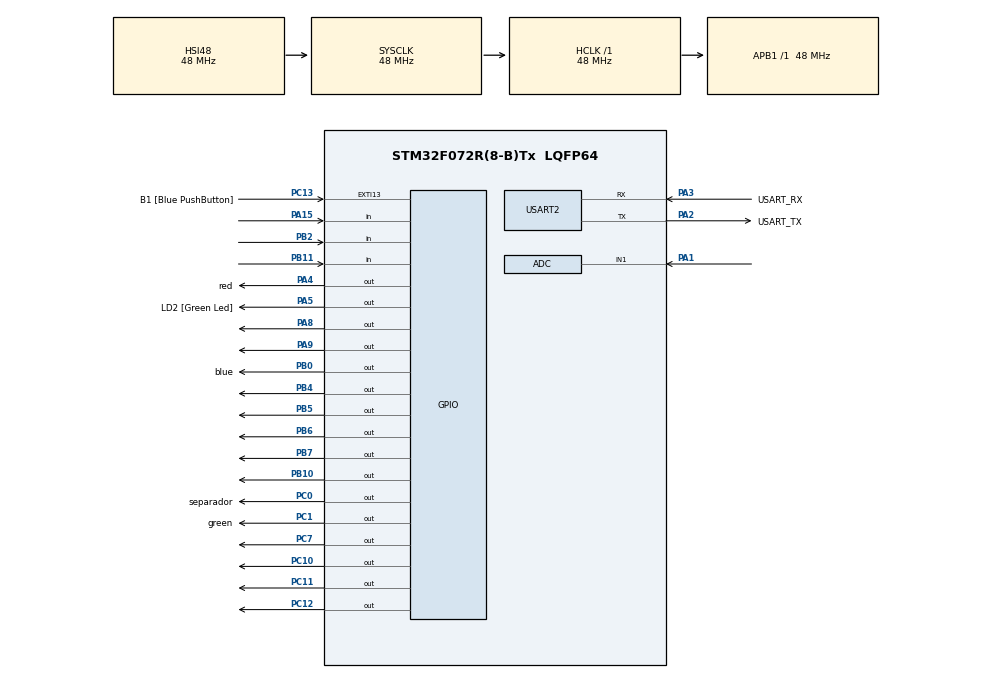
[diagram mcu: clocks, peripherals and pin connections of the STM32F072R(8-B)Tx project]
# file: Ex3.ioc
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Mcu.Family=STM32F0
Mcu.Name=STM32F072R(8-B)Tx
Mcu.Package=LQFP64
PA1.Mode=IN1
PA1.Signal=ADC_IN1
PA13.GPIO_Label=TMS
PA13.Mode=Serial_Wire
PA13.Signal=SYS_SWDIO
PA14.GPIO_Label=TCK
PA14.Mode=Serial_Wire
PA14.Signal=SYS_SWCLK
PA15.GPIO_PuPd=GPIO_PULLUP
PA15.Signal=GPIO_Input
PA2.GPIO_Label=USART_TX
PA2.GPIO_Mode=GPIO_MODE_AF_PP
PA2.GPIO_PuPd=GPIO_NOPULL
PA2.GPIO_Speed=GPIO_SPEED_FREQ_LOW
PA2.Mode=Asynchronous
PA2.Signal=USART2_TX
PA3.GPIO_Label=USART_RX
PA3.GPIO_Mode=GPIO_MODE_AF_PP
PA3.GPIO_PuPd=GPIO_NOPULL
PA3.GPIO_Speed=GPIO_SPEED_FREQ_LOW
PA3.Mode=Asynchronous
PA3.Signal=USART2_RX
PA4.GPIO_Label=red
PA4.Signal=GPIO_Output
PA5.GPIO_Label=LD2 [Green Led]
PA5.GPIO_Mode=GPIO_MODE_OUTPUT_PP
PA5.GPIO_PuPd=GPIO_NOPULL
PA5.GPIO_Speed=GPIO_SPEED_FREQ_LOW
PA5.Signal=GPIO_Output
PA8.Signal=GPIO_Output
PA9.Signal=GPIO_Output
PB0.GPIO_Label=blue
PB0.Signal=GPIO_Output
PB10.Signal=GPIO_Output
PB11.GPIO_PuPd=GPIO_PULLUP
PB11.Signal=GPIO_Input
PB2.GPIO_PuPd=GPIO_PULLUP
PB2.Signal=GPIO_Input
PB4.Signal=GPIO_Output
PB5.Signal=GPIO_Output
PB6.Signal=GPIO_Output
PB7.GPIO_ModeDefaultOutputPP=GPIO_MODE_OUTPUT_OD
PB7.Signal=GPIO_Output
PC0.GPIO_Label=separador
PC0.Signal=GPIO_Output
PC1.GPIO_Label=green
PC1.Signal=GPIO_Output
PC10.GPIO_ModeDefaultOutputPP=GPIO_MODE_OUTPUT_OD
PC10.Signal=GPIO_Output
PC11.GPIO_ModeDefaultOutputPP=GPIO_MODE_OUTPUT_OD
PC11.Signal=GPIO_Output
PC12.GPIO_ModeDefaultOutputPP=GPIO_MODE_OUTPUT_OD
PC12.Signal=GPIO_Output
PC13.GPIO_Label=B1 [Blue PushButton]
PC13.GPIO_ModeDefaultEXTI=GPIO_MODE_IT_FALLING
PC13.Signal=GPXTI13
PC14-OSC32_IN.Mode=LSE-External-Oscillator
PC14-OSC32_IN.Signal=RCC_OSC32_IN
PC15-OSC32_OUT.Mode=LSE-External-Oscillator
PC15-OSC32_OUT.Signal=RCC_OSC32_OUT
PC7.GPIO_ModeDefaultOutputPP=GPIO_MODE_OUTPUT_PP
PC7.Signal=GPIO_Output
PF0-OSC_IN.Mode=HSE-External-Clock-Source
PF0-OSC_IN.Signal=RCC_OSC_IN
PF1-OSC_OUT.Signal=RCC_OSC_OUT
ProjectManager.HeapSize=0x200
ProjectManager.StackSize=0x400
ProjectManager.TargetToolchain=MDK-ARM V5
RCC.AHBFreq_Value=48000000
RCC.APB1Freq_Value=48000000
RCC.APB1TimFreq_Value=48000000
RCC.FLatency-AdvancedSettings=FLASH_LATENCY_1
RCC.HCLKFreq_Value=48000000
RCC.PLLDivider=RCC_PREDIV_DIV2
RCC.PLLMUL=RCC_PLL_MUL12
RCC.PREFETCH_ENABLE-AdvancedSettings=1
RCC.SYSCLKFreq_VALUE=48000000
RCC.SYSCLKSource=RCC_SYSCLKSOURCE_HSI48
USART2.VirtualMode=VM_ASYNC
USART2.VirtualMode-Asynchronous=VM_ASYNC
board=NUCLEO-F072RB

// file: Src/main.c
/* USER CODE BEGIN Header */
/* USER CODE END Header */

#include "main.h"

/* USER CODE BEGIN Includes */
#include "stdio.h"
#include "string.h"
/* USER CODE END Includes */

ADC_HandleTypeDef hadc;

UART_HandleTypeDef huart2;

void SystemClock_Config(void);
static void MX_GPIO_Init(void);
static void MX_USART2_UART_Init(void);
static void MX_ADC_Init(void);

/* USER CODE BEGIN 0 */

#define pino_rs_0   GPIOA->BSRR = 1<<(16+9)
#define pino_rs_1	GPIOA->BSRR = 1<<9
#define pino_e_0	GPIOC->BSRR = 1<<(16+7)
#define pino_e_1	GPIOC->BSRR = 1<<7

#define cursor_on 	 0x0c
#define cursor_off   0x0e
#define cursor_blink 0x0f

#define liga_led GPIOA->BSRR = (1 << 5);
#define desliga_led GPIOA->BRR = (1 << 5);

#define VERMELHO 0.5
#define VERDE 3.0
#define YELLOW 2.6
#define AZUL 3.3
#define BRANCO 0

void uDelay(void)
{
  int x=10;

  while(x) x--;
}

void delayUs(int tempo)
{
  while(tempo--) uDelay();
}
void lcd_send4bits(unsigned char dat)
{
	if((dat & (1 << 0)) == 0)
		GPIOB->BRR = (1 << 5);
	else
		GPIOB->BSRR = (1 << 5);

	if((dat & (1 << 1)) == 0)
		GPIOB->BRR = (1 << 4);
	else
		GPIOB->BSRR = (1 << 4);

	if((dat & (1 << 2)) == 0)
		GPIOB->BRR = (1 << 10);
	else
		GPIOB->BSRR = (1 << 10);

	if((dat & (1 << 3)) == 0)
		GPIOA->BRR = (1 << 8);
	else
		GPIOA->BSRR = (1 << 8);
}

void lcd_wrcom4(unsigned char com)
{
	lcd_send4bits(com);
	pino_rs_0;
	pino_e_1;
	delayUs(5);
	pino_e_0;
	HAL_Delay(5);
}

void lcd_wrcom(unsigned char com)
{
	lcd_send4bits(com/0x10);
	pino_rs_0;
	pino_e_1;
	delayUs(5);
	pino_e_0;

	lcd_send4bits(com%0x10);
	pino_rs_0;
	pino_e_1;
	delayUs(5);
	pino_e_0;

	HAL_Delay(5);
}

void lcd_wrchar(unsigned char ch)
{
	lcd_send4bits(ch/0x10);
	pino_rs_1;
	pino_e_1;
	delayUs(5);
	pino_e_0;

	lcd_send4bits(ch % 0x10);
	pino_rs_1;
	pino_e_1;
	delayUs(5);
	pino_e_0;

	HAL_Delay(5);
}
void lcd_init(unsigned char cursor)
{
	lcd_wrcom4(3);
  lcd_wrcom4(3);
  lcd_wrcom4(3);
  lcd_wrcom4(2);

  lcd_wrcom(0x28);
  lcd_wrcom(cursor);
  lcd_wrcom(0x06);
  lcd_wrcom(0x01);

}

void lcd_goto(unsigned char x, unsigned char y)
{
  if(x<16)
  {
    if(y==0) lcd_wrcom(0x80+x);
    if(y==1) lcd_wrcom(0xc0+x);
    if(y==2) lcd_wrcom(0x90+x);
    if(y==3) lcd_wrcom(0xd0+x);
  }
}

void lcd_wrstr(char * str)
{
	while((*str))
	{
		lcd_wrchar(*str++);
	}
}

int le_AD(void)
{
	HAL_ADC_Start(&hadc);
	HAL_ADC_PollForConversion(&hadc,50);
	int X = HAL_ADC_GetValue(&hadc);
  HAL_ADC_Stop(&hadc);
	return X;
}
void print_AD(int v)
{
	char str[30];
	sprintf(str,"%04d",v);
	lcd_wrstr(str);
}

char aonde = 'L';
int fputc(int ch, FILE *f)
{
	if(aonde == 'L') lcd_wrchar(ch);
	else if(aonde == 'S') HAL_UART_Transmit(&huart2, (uint8_t *)&ch, 1, 10);
	return ch;
}
void print_color(char x)
{

	lcd_goto(0,0);

	printf("%c%c%c%c",x,x,x,x);
}

void move90neg()
{
		GPIOC->BSRR = 1 << 0;
		HAL_Delay(1);
		GPIOC->BRR = 1 << 0;
		HAL_Delay(19);
}
void move0()
{		int i = 0;
	for(i = 0;i<5;i++)
	{
		GPIOC->BSRR = 1 << 0;
		HAL_Delay(1);
		delayUs(900);
		GPIOC->BRR = 1 << 0;
		HAL_Delay(18);
		delayUs(100);
	}
}
void move90pos()
{

	int i = 0;
	for(i = 0;i<10;i++)
	{
		GPIOC->BSRR = 1 << 0;
		HAL_Delay(1);
		//delayUs(950);
		GPIOC->BRR = 1 << 0;
		HAL_Delay(11);
	}
}
void calibra()
{
	GPIOA -> BSRR = 1 << 4;
	lcd_goto(0,0);
	printf("teste RRR");
	HAL_Delay(3000);
	GPIOA -> BRR = 1 << 4;

	GPIOB -> BSRR = 1 << 0;
	lcd_goto(0,0);
	printf("teste BBB");
	HAL_Delay(3000);
	GPIOB -> BRR = 1 << 0;

	GPIOC -> BSRR = 1 << 1;
	lcd_goto(0,0);
	printf("teste GGG");
	HAL_Delay(3000);
	GPIOC -> BRR = 1 << 1;

}
char detectaCor()
{
	float vR,vB,vG;
	int x;

	GPIOA -> BSRR = 1 << 4;
	lcd_goto(12,0);
	HAL_Delay(250);
	x = le_AD();
	print_AD(x);

	HAL_Delay(250);
	GPIOA -> BRR = 1 << 4;
	vR = (3.3*(float)x)/4095;
	lcd_goto(9,1);
	printf("vR %2.3f",vR);

	GPIOB -> BSRR = 1 << 0;
	lcd_goto(12,0);
	HAL_Delay(250);
	x = le_AD();
	print_AD(x);
	HAL_Delay(250);
	GPIOB -> BRR = 1 << 0;
	vB = (3.3*(float)x)/4095;
	lcd_goto(9,1);
	printf("vB %2.3f",vB);

	GPIOC -> BSRR = 1 << 1;
	lcd_goto(12,0);
	HAL_Delay(250);
	x = le_AD();
	print_AD(x);
	HAL_Delay(250);
	GPIOC -> BRR = 1 << 1;
	vG = (3.3*(float)x)/4095;
	lcd_goto(9,1);
	printf("vG %2.3f",vG);
	if(vB > 2.6 && vR > 2.6 && vG > 2.6)
		return 'N';

	if(vB < 1.8 && vR < 2.0 && vG < 2.6)
		return 'B';
	else if(vR < 1.4 && vB < 2.5 && vG < 2.5)
		return 'R';
	else if(vG > 2.0 && vB > 2.0 && vR > 1.4)
		return 'G';
	else return '?';

}
/* USER CODE END 0 */

int main(void)
{
  /* USER CODE BEGIN 1 */
	int x;
	char cor;
  /* USER CODE END 1 */

  /* MCU Configuration--------------------------------------------------------*/

  /* Reset of all peripherals, Initializes the Flash interface and the Systick. */
  HAL_Init();

  /* Configure the system clock */
  SystemClock_Config();

  /* Initialize all configured peripherals */
  MX_GPIO_Init();
  MX_USART2_UART_Init();
  MX_ADC_Init();
  /* USER CODE BEGIN 2 */
	lcd_init(cursor_blink);
	GPIOB->BSRR = (1 << 6);

  /* USER CODE END 2 */

  /* Infinite loop */
  /* USER CODE BEGIN WHILE */

  while (1)
  {
	/*
		lcd_goto(12,0);
		int x = le_AD();
		print_AD(x);
		float v = (3.3*(float)x)/4095;
		lcd_goto(0,1);
		aonde = 'L';
		printf("%2.3f",v);
		print_color(v);

	HAL_Delay(500);

*/
		//calibra();
		cor = detectaCor();
		print_color(cor);
		if(cor == 'B')
			move0();
		else
			move90pos();
    /* USER CODE END WHILE */

  }
}

void SystemClock_Config(void)
{
  RCC_OscInitTypeDef RCC_OscInitStruct = {0};
  RCC_ClkInitTypeDef RCC_ClkInitStruct = {0};
  RCC_PeriphCLKInitTypeDef PeriphClkInit = {0};

  /**Initializes the CPU, AHB and APB busses clocks
  */
  RCC_OscInitStruct.OscillatorType = RCC_OSCILLATORTYPE_HSI14|RCC_OSCILLATORTYPE_HSI48;
  RCC_OscInitStruct.HSI48State = RCC_HSI48_ON;
  RCC_OscInitStruct.HSI14State = RCC_HSI14_ON;
  RCC_OscInitStruct.HSI14CalibrationValue = 16;
  RCC_OscInitStruct.PLL.PLLState = RCC_PLL_NONE;
  if (HAL_RCC_OscConfig(&RCC_OscInitStruct) != HAL_OK)
  {
    Error_Handler();
  }
  /**Initializes the CPU, AHB and APB busses clocks
  */
  RCC_ClkInitStruct.ClockType = RCC_CLOCKTYPE_HCLK|RCC_CLOCKTYPE_SYSCLK
                              |RCC_CLOCKTYPE_PCLK1;
  RCC_ClkInitStruct.SYSCLKSource = RCC_SYSCLKSOURCE_HSI48;
  RCC_ClkInitStruct.AHBCLKDivider = RCC_SYSCLK_DIV1;
  RCC_ClkInitStruct.APB1CLKDivider = RCC_HCLK_DIV1;

  if (HAL_RCC_ClockConfig(&RCC_ClkInitStruct, FLASH_LATENCY_1) != HAL_OK)
  {
    Error_Handler();
  }
  PeriphClkInit.PeriphClockSelection = RCC_PERIPHCLK_USART2;
  PeriphClkInit.Usart2ClockSelection = RCC_USART2CLKSOURCE_PCLK1;
  if (HAL_RCCEx_PeriphCLKConfig(&PeriphClkInit) != HAL_OK)
  {
    Error_Handler();
  }
}

static void MX_ADC_Init(void)
{

  ADC_ChannelConfTypeDef sConfig = {0};

  /**Configure the global features of the ADC (Clock, Resolution, Data Alignment and number of conversion)
  */
  hadc.Instance = ADC1;
  hadc.Init.ClockPrescaler = ADC_CLOCK_ASYNC_DIV1;
  hadc.Init.Resolution = ADC_RESOLUTION_12B;
  hadc.Init.DataAlign = ADC_DATAALIGN_RIGHT;
  hadc.Init.ScanConvMode = ADC_SCAN_DIRECTION_FORWARD;
  hadc.Init.EOCSelection = ADC_EOC_SINGLE_CONV;
  hadc.Init.LowPowerAutoWait = DISABLE;
  hadc.Init.LowPowerAutoPowerOff = DISABLE;
  hadc.Init.ContinuousConvMode = DISABLE;
  hadc.Init.DiscontinuousConvMode = DISABLE;
  hadc.Init.ExternalTrigConv = ADC_SOFTWARE_START;
  hadc.Init.ExternalTrigConvEdge = ADC_EXTERNALTRIGCONVEDGE_NONE;
  hadc.Init.DMAContinuousRequests = DISABLE;
  hadc.Init.Overrun = ADC_OVR_DATA_PRESERVED;
  if (HAL_ADC_Init(&hadc) != HAL_OK)
  {
    Error_Handler();
  }
  /**Configure for the selected ADC regular channel to be converted.
  */
  sConfig.Channel = ADC_CHANNEL_1;
  sConfig.Rank = ADC_RANK_CHANNEL_NUMBER;
  sConfig.SamplingTime = ADC_SAMPLETIME_1CYCLE_5;
  if (HAL_ADC_ConfigChannel(&hadc, &sConfig) != HAL_OK)
  {
    Error_Handler();
  }

}

static void MX_USART2_UART_Init(void)
{

  huart2.Instance = USART2;
  huart2.Init.BaudRate = 38400;
  huart2.Init.WordLength = UART_WORDLENGTH_8B;
  huart2.Init.StopBits = UART_STOPBITS_1;
  huart2.Init.Parity = UART_PARITY_NONE;
  huart2.Init.Mode = UART_MODE_TX_RX;
  huart2.Init.HwFlowCtl = UART_HWCONTROL_NONE;
  huart2.Init.OverSampling = UART_OVERSAMPLING_16;
  huart2.Init.OneBitSampling = UART_ONE_BIT_SAMPLE_DISABLE;
  huart2.AdvancedInit.AdvFeatureInit = UART_ADVFEATURE_NO_INIT;
  if (HAL_UART_Init(&huart2) != HAL_OK)
  {
    Error_Handler();
  }

}

static void MX_GPIO_Init(void)
{
  GPIO_InitTypeDef GPIO_InitStruct = {0};

  /* GPIO Ports Clock Enable */
  __HAL_RCC_GPIOC_CLK_ENABLE();
  __HAL_RCC_GPIOF_CLK_ENABLE();
  __HAL_RCC_GPIOA_CLK_ENABLE();
  __HAL_RCC_GPIOB_CLK_ENABLE();

  /*Configure GPIO pin Output Level */
  HAL_GPIO_WritePin(GPIOC, separador_Pin|green_Pin|GPIO_PIN_7|GPIO_PIN_10
                          |GPIO_PIN_11|GPIO_PIN_12, GPIO_PIN_RESET);

  /*Configure GPIO pin Output Level */
  HAL_GPIO_WritePin(GPIOA, red_Pin|LD2_Pin|GPIO_PIN_8|GPIO_PIN_9, GPIO_PIN_RESET);

  /*Configure GPIO pin Output Level */
  HAL_GPIO_WritePin(GPIOB, blue_Pin|GPIO_PIN_10|GPIO_PIN_4|GPIO_PIN_5
                          |GPIO_PIN_6|GPIO_PIN_7, GPIO_PIN_RESET);

  /*Configure GPIO pin : B1_Pin */
  GPIO_InitStruct.Pin = B1_Pin;
  GPIO_InitStruct.Mode = GPIO_MODE_IT_FALLING;
  GPIO_InitStruct.Pull = GPIO_NOPULL;
  HAL_GPIO_Init(B1_GPIO_Port, &GPIO_InitStruct);

  /*Configure GPIO pins : separador_Pin green_Pin PC7 */
  GPIO_InitStruct.Pin = separador_Pin|green_Pin|GPIO_PIN_7;
  GPIO_InitStruct.Mode = GPIO_MODE_OUTPUT_PP;
  GPIO_InitStruct.Pull = GPIO_NOPULL;
  GPIO_InitStruct.Speed = GPIO_SPEED_FREQ_LOW;
  HAL_GPIO_Init(GPIOC, &GPIO_InitStruct);

  /*Configure GPIO pins : red_Pin LD2_Pin PA8 PA9 */
  GPIO_InitStruct.Pin = red_Pin|LD2_Pin|GPIO_PIN_8|GPIO_PIN_9;
  GPIO_InitStruct.Mode = GPIO_MODE_OUTPUT_PP;
  GPIO_InitStruct.Pull = GPIO_NOPULL;
  GPIO_InitStruct.Speed = GPIO_SPEED_FREQ_LOW;
  HAL_GPIO_Init(GPIOA, &GPIO_InitStruct);

  /*Configure GPIO pins : blue_Pin PB10 PB4 PB5
                           PB6 */
  GPIO_InitStruct.Pin = blue_Pin|GPIO_PIN_10|GPIO_PIN_4|GPIO_PIN_5
                          |GPIO_PIN_6;
  GPIO_InitStruct.Mode = GPIO_MODE_OUTPUT_PP;
  GPIO_InitStruct.Pull = GPIO_NOPULL;
  GPIO_InitStruct.Speed = GPIO_SPEED_FREQ_LOW;
  HAL_GPIO_Init(GPIOB, &GPIO_InitStruct);

  /*Configure GPIO pins : PB2 PB11 */
  GPIO_InitStruct.Pin = GPIO_PIN_2|GPIO_PIN_11;
  GPIO_InitStruct.Mode = GPIO_MODE_INPUT;
  GPIO_InitStruct.Pull = GPIO_PULLUP;
  HAL_GPIO_Init(GPIOB, &GPIO_InitStruct);

  /*Configure GPIO pin : PA15 */
  GPIO_InitStruct.Pin = GPIO_PIN_15;
  GPIO_InitStruct.Mode = GPIO_MODE_INPUT;
  GPIO_InitStruct.Pull = GPIO_PULLUP;
  HAL_GPIO_Init(GPIOA, &GPIO_InitStruct);

  /*Configure GPIO pins : PC10 PC11 PC12 */
  GPIO_InitStruct.Pin = GPIO_PIN_10|GPIO_PIN_11|GPIO_PIN_12;
  GPIO_InitStruct.Mode = GPIO_MODE_OUTPUT_OD;
  GPIO_InitStruct.Pull = GPIO_NOPULL;
  GPIO_InitStruct.Speed = GPIO_SPEED_FREQ_LOW;
  HAL_GPIO_Init(GPIOC, &GPIO_InitStruct);

  /*Configure GPIO pin : PB7 */
  GPIO_InitStruct.Pin = GPIO_PIN_7;
  GPIO_InitStruct.Mode = GPIO_MODE_OUTPUT_OD;
  GPIO_InitStruct.Pull = GPIO_NOPULL;
  GPIO_InitStruct.Speed = GPIO_SPEED_FREQ_LOW;
  HAL_GPIO_Init(GPIOB, &GPIO_InitStruct);

}

void Error_Handler(void)
{
}

/************************ (C) COPYRIGHT STMicroelectronics *****END OF FILE****/
